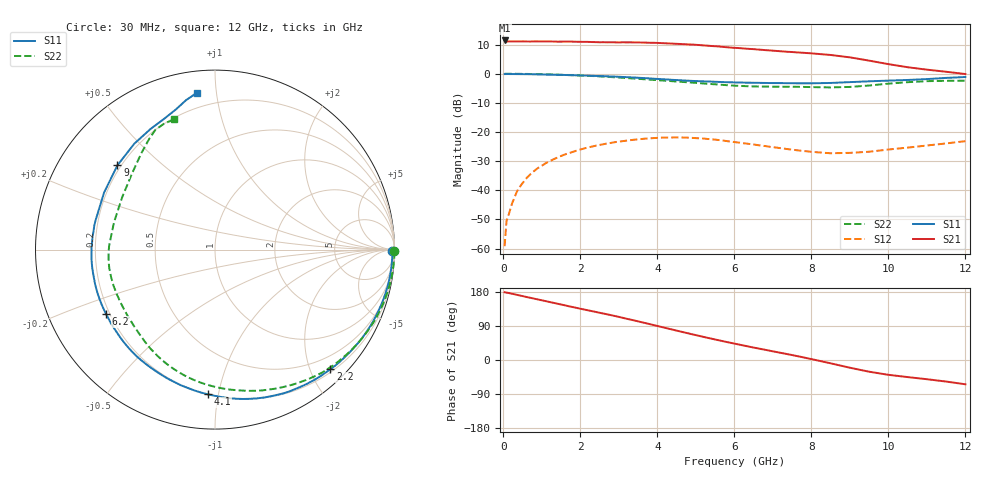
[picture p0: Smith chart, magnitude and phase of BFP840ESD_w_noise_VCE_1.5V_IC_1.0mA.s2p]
! Infineon Technologies  Discrete & RF Semiconductors
! BFP840ESD
! VCE =  1.5 V,  IC =  1.0 mA
! Common Emitter S-Parameters:  May 2012
# GHz  S  MA  R  50
!  f  S11  S21  S12  S22
! GHz  MAG  ANG  MAG  ANG  MAG  ANG  MAG  ANG
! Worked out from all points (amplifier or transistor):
!   93 points, 30 MHz to 12 GHz, reference 50 ohm
!   highest |S21| = 11.4 dB at 30 MHz (marker M1)
!   |S21| within 3 dB of that: start of sweep to 6.514 GHz
!   unconditionally stable (mu >= 1): 7.17 GHz to 11.15 GHz
!   at 1.1 GHz: K = 0.09, MSG = 20.9 dB, |S12| = -30.7 dB
!   at 4.2 GHz: K = 0.30, MSG = 16.2 dB, |S12| = -21.9 dB
!   at 12 GHz: K = 0.68, MSG = 11.5 dB, |S12| = -23.1 dB
!   lowest NFmin = 0.39 dB at 450 MHz
!   S11 on the Smith chart (normalised r, x): 30 MHz: open; 2.2 GHz: 0.25, -2.33; 4.1 GHz: 0.20, -0.93; 6.2 GHz: 0.19, -0.26; 9 GHz: 0.19, +0.36; 12 GHz: 0.12, +0.88
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0.03  0.9875 -0.6  3.725 178.8  0.0011 87.0  0.9997 -0.6
0.08  0.9889 -1.6  3.545 177.8  0.003 90.2  1 -1.6
0.23  0.988 -4.7  3.582 174.7  0.0061 83.5  0.9983 -4.6
0.38  0.9862 -7.8  3.588 171.3  0.0104 82.1  0.9965 -7.6
0.6  0.983 -12.2  3.577 166.2  0.0162 78.3  0.9926 -12.0
1.2  0.9669 -24.7  3.581 153.0  0.0316 66.7  0.9729 -24.1
2.1  0.9308 -44.0  3.526 133.2  0.0523 49.3  0.9268 -42.6
2.2  0.926 -46.1  3.519 131.0  0.0545 47.4  0.921 -44.7
3.3  0.8678 -71.8  3.458 106.6  0.0725 26.6  0.835 -69.1
4.1  0.8072 -92.9  3.354 87.3  0.08 11.0  0.768 -89.0
4.6  0.7717 -107.0  3.238 75.1  0.0807 1.3  0.7279 -101.7
5.1  0.7445 -121.2  3.102 63.3  0.0779 -7.7  0.6888 -113.7
5.6  0.7238 -134.7  2.931 51.9  0.0728 -15.3  0.6513 -125.2
6.1  0.7067 -147.1  2.762 41.2  0.066 -20.4  0.6204 -136.8
6.2  0.7052 -149.5  2.726 39.0  0.0647 -21.2  0.6157 -139.1
6.7  0.6967 -161.5  2.576 28.8  0.0586 -24.0  0.6031 -151.2
7.5  0.688 179.0  2.358 13.0  0.05 -24.3  0.5981 -169.9
8.5  0.695 152.7  2.098 -8.8  0.0432 -16.7  0.5829 164.9
9  0.7182 139.2  1.91 -20.4  0.0439 -11.1  0.5939 150.5
9.5  0.7419 127.3  1.679 -30.9  0.0459 -7.0  0.6279 137.3
10.5  0.7821 111.2  1.293 -45.1  0.054 -3.4  0.7163 120.9
12  0.879 96.6  0.988 -64.1  0.0697 -6.0  0.7609 107.6
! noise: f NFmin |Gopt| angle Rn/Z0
0.45  0.39  0.82  4  0.56
0.9  0.4  0.84  10  0.53
1.5  0.52  0.84  22  0.46
1.9  0.58  0.83  25  0.41
2.4  0.64  0.74  35  0.38
3.5  0.77  0.64  61  0.31
5.5  1.05  0.52  116  0.21
8  1.41  0.6  -154  0.05
10  1.71  0.68  -119  0.18
12  2.06  0.64  -89  0.43
